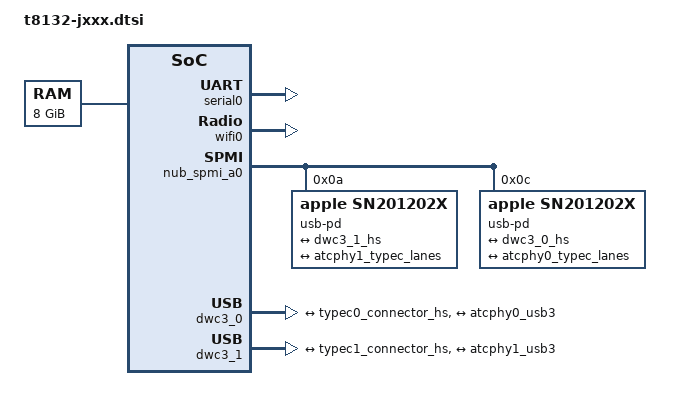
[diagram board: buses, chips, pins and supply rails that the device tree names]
// SPDX-License-Identifier: GPL-2.0+ OR MIT
/*
 * Apple M4 Mac mini, MacBook Air/Pro, iMac 24" (M4, 2024/2025)
 *
 * This file contains parts common to all Apple M4 devices using the t8132.
 *
 * target-type: J604, J623, J624, J713, J715, J773g
 *
 * Copyright The Asahi Linux Contributors
 */

/ {
	aliases {
		atcphy0 = &atcphy0;
		atcphy1 = &atcphy1;
		bluetooth0 = &bluetooth0;
		serial0 = &serial0;
		wifi0 = &wifi0;
	};

	chosen {
		ranges;

		#address-cells = <2>;
		#size-cells = <2>;

		stdout-path = "serial0";

		framebuffer0: framebuffer@0 {
			compatible = "apple,simple-framebuffer",
				     "simple-framebuffer";
			reg = <0 0 0 0>; /* To be filled by loader */
			power-domains = <&ps_disp_fe>, <&ps_dptx_phy>;
			/* Format properties will be added by loader */

			status = "disabled";
		};
	};

	memory@800000000 {
		device_type = "memory";
		reg = <0x8 0 0x2 0>; /* To be filled by loader */
	};

	reserved-memory {
		ranges;
		#address-cells = <2>;
		#size-cells = <2>;
		/* To be filled by loader */
	};
};

&serial0 {
	status = "okay";
};

/*
 * Force the bus number assignments so that we can declare some of the
 * on-board devices and properties that are populated by the bootloader
 * (such as MAC addresses).
 */
&port00 {
	bus-range = <1 1>;

	wifi0: wifi@0,0 {
		compatible = "pci14e4,4434";
		reg = <0x10000 0x0 0x0 0x0 0x0>;
		/* To be filled by the loader */
		local-mac-address = [00 00 00 00 00 00];
		apple,antenna-sku = "XX";
	};

	bluetooth0: bluetooth@0,1 {
		compatible = "pci14e4,5f72";
		reg = <0x10100 0x0 0x0 0x0 0x0>;
		/* To be filled by the loader */
		local-bd-address = [00 00 00 00 00 00];
	};
};

/* USB */

/*
 * All models have at least these two ports.
 * Additional ports are added in t8132-j{604,624,773g}.dts respectively.
 */

&nub_spmi_a0 {
	usb-pd@a {
		compatible = "apple,sn201202x";
		reg = <0xa SPMI_USID>;
		interrupts = <37 IRQ_TYPE_EDGE_RISING>,
		             <39 IRQ_TYPE_EDGE_RISING>,
		             <43 IRQ_TYPE_EDGE_RISING>,
		             <45 IRQ_TYPE_EDGE_RISING>;
		interrupt-names = "irq", "select", "sleep", "wake";

		typec1: connector {
			compatible = "usb-c-connector";
			label = "USB-C Left-back";
			power-role = "dual";
			data-role = "dual";

			ports {
				#address-cells = <1>;
				#size-cells = <0>;

				port@0 {
					reg = <0>;

					typec1_connector_hs: endpoint {
						remote-endpoint = <&dwc3_1_hs>;
					};
				};

				port@1 {
					reg = <1>;

					typec1_connector_ss: endpoint {
						remote-endpoint =
							<&atcphy1_typec_lanes>;
					};
				};
			};
		};
	};

	usb-pd@c {
		compatible = "apple,sn201202x";
		reg = <0xc SPMI_USID>;
		interrupts = <11 IRQ_TYPE_EDGE_RISING>,
		             <13 IRQ_TYPE_EDGE_RISING>,
		             <17 IRQ_TYPE_EDGE_RISING>,
		             <19 IRQ_TYPE_EDGE_RISING>;
		interrupt-names = "irq", "select", "sleep", "wake";

		typec0: connector {
			compatible = "usb-c-connector";
			label = "USB-C Left-front";
			power-role = "dual";
			data-role = "dual";

			ports {
				#address-cells = <1>;
				#size-cells = <0>;

				port@0 {
					reg = <0>;

					typec0_connector_hs: endpoint {
						remote-endpoint = <&dwc3_0_hs>;
					};
				};

				port@1 {
					reg = <1>;

					typec0_connector_ss: endpoint {
						remote-endpoint =
							<&atcphy0_typec_lanes>;
					};
				};
			};
		};
	};
};

&dwc3_0 {
	ports {
		#address-cells = <1>;
		#size-cells = <0>;

		port@0 {
			reg = <0>;

			dwc3_0_hs: endpoint {
				remote-endpoint = <&typec0_connector_hs>;
			};
		};

		port@1 {
			reg = <1>;

			dwc3_0_ss: endpoint {
				remote-endpoint = <&atcphy0_usb3>;
			};
		};
	};
};

&dwc3_1 {
	ports {
		#address-cells = <1>;
		#size-cells = <0>;

		port@0 {
			reg = <0>;

			dwc3_1_hs: endpoint {
				remote-endpoint = <&typec1_connector_hs>;
			};
		};

		port@1 {
			reg = <1>;

			dwc3_1_ss: endpoint {
				remote-endpoint = <&atcphy1_usb3>;
			};
		};
	};
};

&atcphy0 {
	ports {
		#address-cells = <1>;
		#size-cells = <0>;

		port@0 {
			reg = <0>;

			atcphy0_typec_lanes: endpoint {
				remote-endpoint = <&typec0_connector_ss>;
			};
		};

		port@1 {
			reg = <1>;

			atcphy0_usb3: endpoint {
				remote-endpoint = <&dwc3_0_ss>;
			};
		};
	};
};

&atcphy1 {
	ports {
		#address-cells = <1>;
		#size-cells = <0>;

		port@0 {
			reg = <0>;

			atcphy1_typec_lanes: endpoint {
				remote-endpoint = <&typec1_connector_ss>;
			};
		};

		port@1 {
			reg = <1>;

			atcphy1_usb3: endpoint {
				remote-endpoint = <&dwc3_1_ss>;
			};
		};
	};
};
